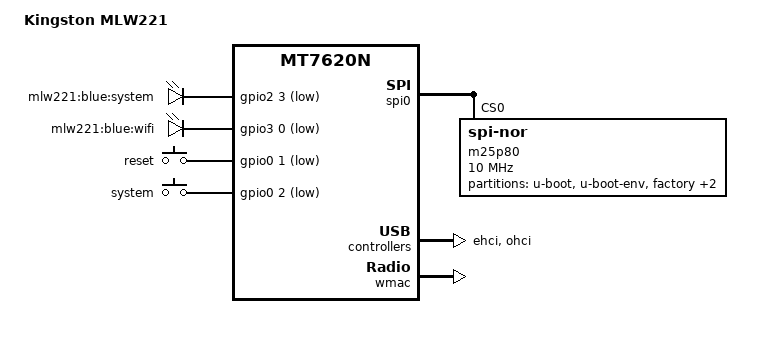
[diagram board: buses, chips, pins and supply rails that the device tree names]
/dts-v1/;

#include "mt7620n.dtsi"

/ {
	compatible = "mlw221", "ralink,mt7620n-soc";
	model = "Kingston MLW221";

	gpio-leds {
		compatible = "gpio-leds";

		system {
			label = "mlw221:blue:system";
			gpios = <&gpio2 3 1>;
		};

		wifi {
			label = "mlw221:blue:wifi";
			gpios = <&gpio3 0 1>;
		};
	};

	gpio-keys-polled {
		compatible = "gpio-keys-polled";
		#address-cells = <1>;
		#size-cells = <0>;
		poll-interval = <20>;

		reset {
			label = "reset";
			gpios = <&gpio0 1 1>;
			linux,code = <0x198>;
		};

		system {
			label = "system";
			gpios = <&gpio0 2 1>;
			linux,code = <0x211>;
		};
	};
};

&gpio0 {
	status = "okay";
};

&gpio2 {
	status = "okay";
};

&gpio3 {
	status = "okay";
};

&spi0 {
	status = "okay";

	m25p80@0 {
		#address-cells = <1>;
		#size-cells = <1>;
		compatible = "jedec,spi-nor";
		reg = <0>;
		linux,modalias = "m25p80", "s25fl129p1";
		spi-max-frequency = <10000000>;

		partition@0 {
			label = "u-boot";
			reg = <0x0 0x30000>;
			read-only;
		};

		partition@30000 {
			label = "u-boot-env";
			reg = <0x30000 0x10000>;
			read-only;
		};

		factory: partition@40000 {
			label = "factory";
			reg = <0x40000 0x10000>;
			read-only;
		};

		partition@50000 {
			label = "firmware";
			reg = <0x50000 0xf60000>;
		};

		partition@fb0000 {
			label = "user-config";
			reg = <0xfb0000 0x50000>;
		};
	};
};

&ehci {
	status = "okay";
};

&ohci {
	status = "okay";
};

&ethernet {
	mtd-mac-address = <&factory 0x4>;
	mediatek,portmap = "wllll";
};

&wmac {
	ralink,mtd-eeprom = <&factory 0>;
};

&pinctrl {
	state_default: pinctrl0 {
		default {
			ralink,group = "i2c", "ephy", "wled";
			ralink,function = "gpio";
		};
	};
};
